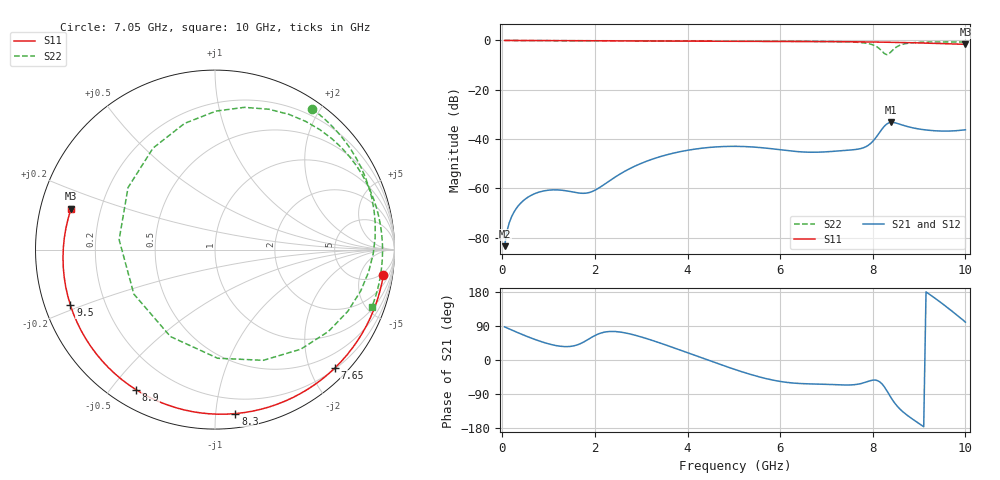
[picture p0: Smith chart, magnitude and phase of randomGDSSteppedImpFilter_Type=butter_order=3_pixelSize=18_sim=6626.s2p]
! freq	dB(S11)	phase(S11)	dB(S12)	phase(S12)
!  dB(S21)	phase(S21)	dB(S22)	phase(S22)
!S-par simulation data
#  GHz  S  DB  R 50
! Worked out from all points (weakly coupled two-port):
!   200 points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, 50 MHz to 10 GHz, reference 50 ohm
!   highest |S21| = -33.22 dB at 8.4 GHz (marker M1); lowest = -83.4 dB at 50 MHz (marker M2)
!   lowest |S11| = -1.6 dB at 10 GHz (marker M3), VSWR 11.02, Z = 4.63 + j6.91 ohm
!   |S11| at or under -10 dB: nowhere
!   |S22| runs from -5.8 to 0.0 dB; largest |S21 - S12| = 0
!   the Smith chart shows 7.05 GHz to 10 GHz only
!   S11 on the Smith chart (normalised r, x): 7.05 GHz: 4, -12; 7.65 GHz: 0.22, -2.43; 8.3 GHz: 0.09, -1.13; 8.9 GHz: 0.07, -0.58; 9.5 GHz: 0.08, -0.18; 10 GHz: 0.09, +0.14
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0.05  -0.00 -2.6  -83.45 87.4  -83.45 87.4  -0.00 -2.8
0.25  -0.02 -13.1  -69.69 76.6  -69.69 76.6  -0.02 -14.0
0.6  -0.04 -31.1  -63.06 59.0  -63.06 59.0  -0.04 -33.1
1.2  -0.08 -61.5  -60.62 37.2  -60.62 37.2  -0.08 -64.6
1.75  -0.11 -88.5  -62.01 47.0  -62.01 47.0  -0.11 -91.3
2.5  -0.15 -124.0  -54.67 74.5  -54.67 74.5  -0.14 -124.4
3.4  -0.20 -166.1  -47.18 45.1  -47.18 45.1  -0.17 -160.1
4.2  -0.25 155.0  -43.97 10.4  -43.97 10.4  -0.20 170.0
5.05  -0.31 110.2  -42.96 -26.1  -42.96 -26.1  -0.24 138.5
5.85  -0.36 64.1  -44.00 -53.2  -44.00 -53.2  -0.29 107.8
6.7  -0.42 12.6  -45.35 -63.2  -45.35 -63.2  -0.36 72.1
7.05  -0.46 -8.6  -45.11 -64.4  -45.11 -64.4  -0.42 55.4
7.65  -0.55 -44.5  -44.18 -64.4  -44.18 -64.4  -0.73 18.3
8  -0.63 -65.2  -40.92 -53.2  -40.92 -53.2  -1.77 -24.9
8.2  -0.69 -77.0  -35.94 -63.1  -35.94 -63.1  -4.36 -88.6
8.3  -0.72 -82.9  -33.92 -80.3  -33.92 -80.3  -5.75 -151.3
8.35  -0.73 -85.9  -33.41 -90.5  -33.41 -90.5  -5.40 174.1
8.4  -0.75 -88.9  -33.22 -100.5  -33.22 -100.5  -4.51 144.5
8.55  -0.80 -97.9  -33.77 -124.8  -33.77 -124.8  -2.25 89.6
8.9  -0.95 -119.4  -35.59 -159.5  -35.59 -159.5  -0.87 38.9
9.5  -1.28 -159.0  -36.76 148.9  -36.76 148.9  -0.60 1.4
10  -1.58 164.1  -36.25 99.9  -36.25 99.9  -0.62 -20.2
